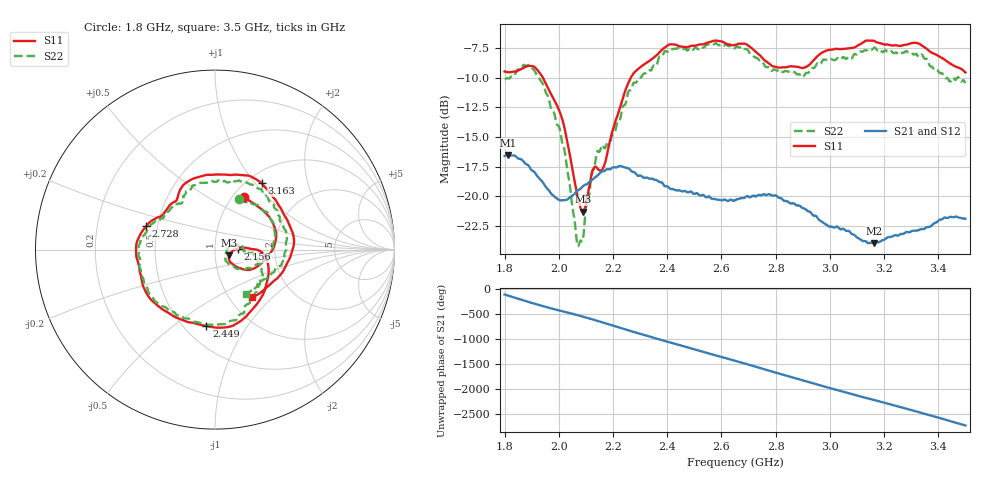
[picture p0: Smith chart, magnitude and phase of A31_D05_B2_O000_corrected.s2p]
! Created with skrf 1.9.0 (http://scikit-rf.org).
# Hz S RI R 50.0
!freq ReS11 ImS11 ReS21 ImS21 ReS12 ImS12 ReS22 ImS22
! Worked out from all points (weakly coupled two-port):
!   1601 points, 1.8 GHz to 3.5 GHz, reference 50 ohm
!   highest |S21| = -16.52 dB at 1.814 GHz (marker M1); lowest = -24.0 dB at 3.163 GHz (marker M2)
!   lowest |S11| = -21.3 dB at 2.089 GHz (marker M3), VSWR 1.19, Z = 58.5 - j3.78 ohm
!   |S11| at or under -10 dB: 1.941 GHz to 2.266 GHz (324.5 MHz wide, 15.4 % of centre)
!   |S22| runs from -24.2 to -7.1 dB; largest |S21 - S12| = 0.0027
!   S11 on the Smith chart (normalised r, x): 1.8 GHz: 1.12, +0.75; 2.156 GHz: 1.29, +0.00; 2.449 GHz: 0.64, -0.66; 2.728 GHz: 0.43, +0.13; 3.163 GHz: 1.16, +1.08; 3.5 GHz: 1.27, -0.75
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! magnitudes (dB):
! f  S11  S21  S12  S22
! 1.8 GHz  -9.5  -16.6  -16.6  -10.1
! 1.814 GHz  -9.5  -16.5  -16.5  -10.1
! 1.887 GHz  -9.0  -17.4  -17.5  -8.9
! 1.941 GHz  -10.0  -18.8  -18.8  -10.5
! 2.013 GHz  -13.5  -20.3  -20.3  -15.5
! 2.067 GHz  -19.7  -19.6  -19.6  -23.9
! 2.084 GHz  -21.2  -19.3  -19.3  -23.8
! 2.089 GHz  -21.3  -19.2  -19.2  -23.7
! 2.127 GHz  -17.7  -18.6  -18.5  -17.8
! 2.156 GHz  -17.8  -18.0  -18.0  -15.9
! 2.194 GHz  -14.8  -17.6  -17.6  -15.0
! 2.262 GHz  -10.2  -17.7  -17.8  -11.1
! 2.367 GHz  -8.0  -18.7  -18.7  -8.4
! 2.449 GHz  -7.4  -19.6  -19.6  -7.5
! 2.65 GHz  -7.2  -20.4  -20.3  -7.5
! 2.728 GHz  -7.8  -20.0  -20.0  -8.3
! 2.806 GHz  -9.1  -20.0  -20.0  -9.4
! 2.934 GHz  -8.7  -21.5  -21.5  -9.2
! 3.163 GHz  -6.9  -24.0  -23.9  -7.5
! 3.217 GHz  -7.2  -23.4  -23.4  -7.8
! 3.326 GHz  -7.1  -22.9  -22.8  -8.2
! 3.5 GHz  -9.6  -21.9  -21.9  -10.5
